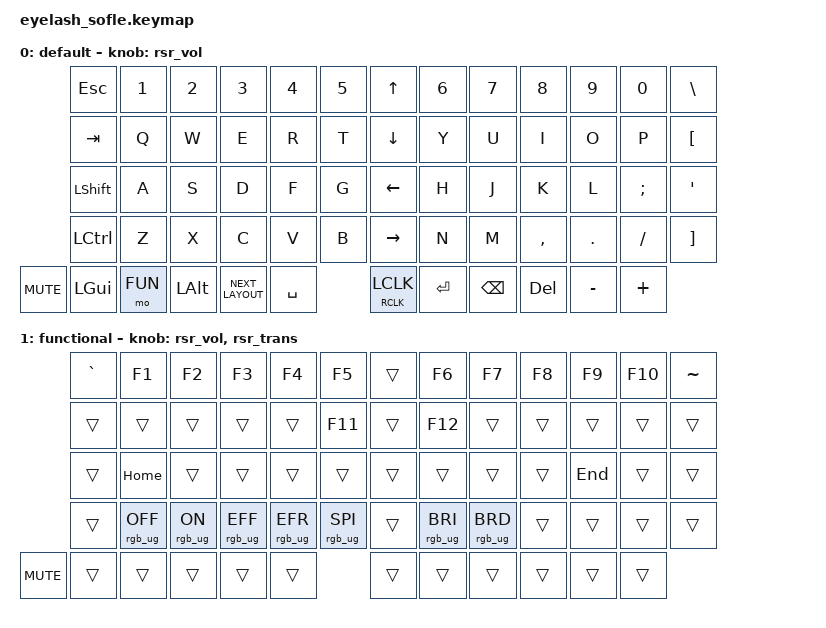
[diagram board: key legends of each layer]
#include <input/processors.dtsi>
#include <zephyr/dt-bindings/input/input-event-codes.h>
#include <behaviors.dtsi>
#include <dt-bindings/zmk/bt.h>
#include <dt-bindings/zmk/keys.h>
#include <dt-bindings/zmk/outputs.h>
#include <dt-bindings/zmk/pointing.h>
#include <dt-bindings/zmk/rgb.h>
#include <behaviors/runtime-sensor-rotate.dtsi>
#include "extra_keys.h"

#define DEF 0
#define FUN 1

/ {
    zip_scroll_scaler: zip_scroll_scaler {
        compatible = "zmk,input-processor-scaler";
        #input-processor-cells = <2>;
        type = <INPUT_EV_REL>;
        codes = <INPUT_REL_WHEEL INPUT_REL_HWHEEL>;
        track-remainders;
    };
};

&mmv_input_listener { input-processors = <&zip_xy_scaler 2 1>; };

&msc_input_listener { input-processors = <&zip_scroll_scaler 2 1>; };

&msc {
    acceleration-exponent = <0>;      // 0
    time-to-max-speed-ms = <0>;       // 300
    delay-ms = <0>;                   // 0
};

&mmv {
    time-to-max-speed-ms = <400>;
    acceleration-exponent = <1>;
};

&soft_off { hold-time-ms = <2000>; };

/ {
    behaviors {
        scroll_encoder: scroll_encoder {
            compatible = "zmk,behavior-runtime-sensor-rotate";
            #sensor-binding-cells = <0>;
            tap-ms = <100>;
            cw-binding = <&msc SCRL_UP>;
            ccw-binding = <&msc SCRL_DOWN>;
        };

        rsr_vol: rsr_vol {
            compatible = "zmk,behavior-runtime-sensor-rotate";
            #sensor-binding-cells = <0>;
            tap-ms = <5>;
            cw-binding = <&kp C_VOL_UP>;
            ccw-binding = <&kp C_VOL_DN>;
        };

        rsr_trans: rsr_trans {
            compatible = "zmk,behavior-runtime-sensor-rotate";
            #sensor-binding-cells = <0>;
            tap-ms = <0>;
        };

        hld_clk: hld_clk {
            compatible = "zmk,behavior-hold-tap";
            #binding-cells = <2>;
            tapping-term-ms = <200>;
            quick-tap-ms = <0>;
            flavor = "tap-preferred";
            bindings = <&mkp>, <&mkp>;
        };
    };

    keymap {
        compatible = "zmk,keymap";

        default {
            bindings = <
            &kp ESC      &kp N1       &kp N2       &kp N3        &kp N4           &kp N5        &kp UP                  &kp N6        &kp N7           &kp N8          &kp N9          &kp N0          &kp BSLH
            &kp TAB      &kp Q        &kp W        &kp E         &kp R            &kp T         &kp DOWN                &kp Y         &kp U            &kp I           &kp O           &kp P           &kp LBKT
            &kp LSHIFT   &kp A        &kp S        &kp D         &kp F            &kp G         &kp LEFT                &kp H         &kp J            &kp K           &kp L           &kp SEMI        &kp SQT 
            &kp LCTRL    &kp Z        &kp X        &kp C         &kp V            &kp B         &kp RIGHT               &kp N         &kp M            &kp COMMA       &kp DOT         &kp FSLH        &kp RBKT
&kp C_MUTE               &kp LGUI     &mo FUN      &kp LALT      &kp NEXT_LAYOUT  &kp SPACE     &hld_clk RCLK LCLK      &kp ENTER     &kp BSPC         &kp DEL         &kp MINUS       &kp PLUS    
            >;

          sensor-bindings = <&rsr_vol>;
        };
        
        functional {
            bindings = <
            &kp GRAVE   &kp F1           &kp F2          &kp F3           &kp F4           &kp F5             &trans        &kp F6            &kp F7           &kp F8     &kp F9    &kp F10     &kp TILDE
            &trans      &trans           &trans          &trans           &trans           &kp F11            &trans        &kp F12           &trans           &trans     &trans    &trans      &trans
            &trans      &kp HOME         &trans          &trans           &trans           &trans             &trans        &trans            &trans           &trans     &kp END   &trans      &trans
            &trans      &rgb_ug RGB_OFF  &rgb_ug RGB_ON  &rgb_ug RGB_EFF  &rgb_ug RGB_EFR  &rgb_ug RGB_SPI    &trans        &rgb_ug RGB_BRI   &rgb_ug RGB_BRD  &trans     &trans    &trans      &trans
&kp C_MUTE              &trans           &trans          &trans           &trans           &trans             &trans        &trans            &trans           &trans     &trans    &trans
            >;

            sensor-bindings = <&rsr_vol &rsr_trans>;
        };
    };
};
